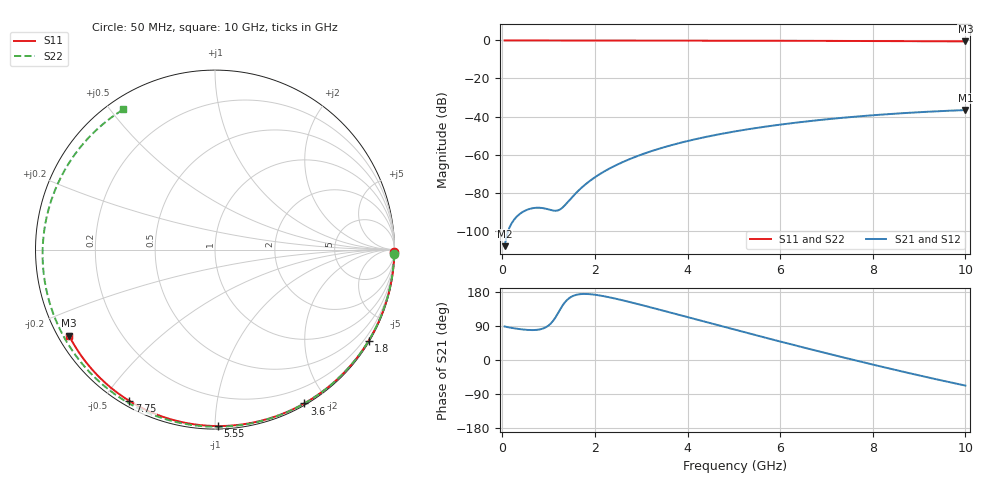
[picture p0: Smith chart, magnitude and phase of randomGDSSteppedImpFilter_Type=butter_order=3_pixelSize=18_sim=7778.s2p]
! freq	dB(S11)	phase(S11)	dB(S12)	phase(S12)
!  dB(S21)	phase(S21)	dB(S22)	phase(S22)
!S-par simulation data
#  GHz  S  DB  R 50
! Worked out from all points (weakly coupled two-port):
!   200 points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, 50 MHz to 10 GHz, reference 50 ohm
!   highest |S21| = -36.61 dB at 10 GHz (marker M1); lowest = -108.2 dB at 50 MHz (marker M2)
!   lowest |S11| = -0.5 dB at 10 GHz (marker M3), VSWR 34.61, Z = 1.55 - j13.6 ohm
!   |S11| at or under -10 dB: nowhere
!   |S22| runs from -0.6 to 0.0 dB; largest |S21 - S12| = 0
!   S11 on the Smith chart (normalised r, x): 50 MHz: open; 1.8 GHz: 0.03, -3.64; 3.6 GHz: 0.02, -1.74; 5.55 GHz: 0.02, -1.02; 7.75 GHz: 0.02, -0.58; 10 GHz: 0.03, -0.27
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0.05  -0.00 -0.8  -108.20 88.5  -108.20 88.5  -0.00 -1.4
0.4  -0.01 -6.9  -90.84 81.1  -90.84 81.1  -0.02 -11.6
0.8  -0.02 -13.8  -88.00 80.5  -88.00 80.5  -0.03 -23.1
1.2  -0.03 -20.6  -89.40 122.9  -89.40 122.9  -0.04 -34.4
1.6  -0.03 -27.4  -80.04 172.0  -80.04 172.0  -0.06 -45.5
1.75  -0.04 -29.9  -76.62 174.3  -76.62 174.3  -0.06 -49.6
1.8  -0.04 -30.7  -75.60 174.3  -75.60 174.3  -0.06 -51.0
2.1  -0.05 -35.7  -70.38 170.4  -70.38 170.4  -0.07 -59.0
2.45  -0.05 -41.5  -65.68 161.8  -65.68 161.8  -0.09 -68.2
2.9  -0.06 -48.8  -60.96 148.5  -60.96 148.5  -0.10 -79.6
3.4  -0.08 -56.7  -56.84 132.6  -56.84 132.6  -0.12 -91.8
3.6  -0.08 -59.9  -55.42 126.1  -55.42 126.1  -0.12 -96.6
4.3  -0.10 -70.7  -51.24 103.3  -51.24 103.3  -0.15 -112.8
5.05  -0.13 -81.9  -47.73 79.0  -47.73 79.0  -0.19 -129.3
5.55  -0.15 -89.1  -45.79 63.0  -45.79 63.0  -0.21 -140.0
6.15  -0.17 -97.7  -43.80 44.1  -43.80 44.1  -0.25 -152.6
6.7  -0.20 -105.3  -42.24 27.0  -42.24 27.0  -0.29 -164.1
7.25  -0.24 -112.8  -40.89 10.2  -40.89 10.2  -0.33 -175.5
7.75  -0.28 -119.6  -39.82 -4.7  -39.82 -4.7  -0.38 173.9
8.35  -0.33 -127.6  -38.73 -22.2  -38.73 -22.2  -0.43 161.0
9.15  -0.40 -138.2  -37.55 -44.8  -37.55 -44.8  -0.51 143.2
10  -0.50 -149.5  -36.61 -67.5  -36.61 -67.5  -0.60 123.1
